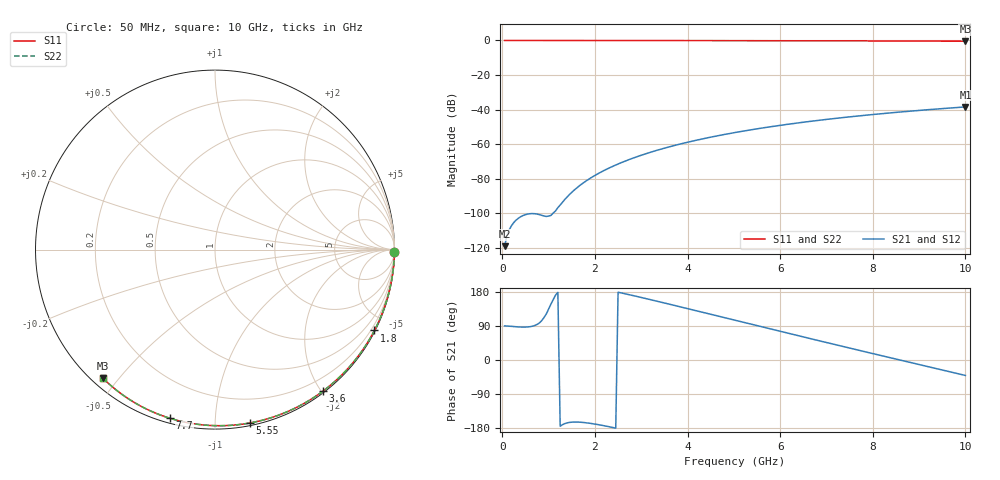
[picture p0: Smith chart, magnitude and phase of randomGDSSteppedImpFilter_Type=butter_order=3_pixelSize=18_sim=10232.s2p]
! freq	dB(S11)	phase(S11)	dB(S12)	phase(S12)
!  dB(S21)	phase(S21)	dB(S22)	phase(S22)
!S-par simulation data
#  GHz  S  DB  R 50
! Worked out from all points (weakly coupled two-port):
!   200 points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, 50 MHz to 10 GHz, reference 50 ohm
!   highest |S21| = -38.46 dB at 10 GHz (marker M1); lowest = -119.0 dB at 50 MHz (marker M2)
!   lowest |S11| = -0.4 dB at 10 GHz (marker M3), VSWR 39.12, Z = 1.54 - j22.7 ohm
!   |S11| at or under -10 dB: nowhere
!   |S22| runs from -0.4 to 0.0 dB; largest |S21 - S12| = 0
!   S11 on the Smith chart (normalised r, x): 50 MHz: open; 1.8 GHz: 0.04, -4.18; 3.6 GHz: 0.02, -2.02; 5.55 GHz: 0.02, -1.22; 7.7 GHz: 0.02, -0.77; 10 GHz: 0.03, -0.45
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0.05  -0.00 -0.8  -119.01 89.9  -119.01 89.9  -0.00 -0.8
0.9  -0.02 -13.6  -101.55 111.9  -101.55 111.9  -0.02 -13.6
1.75  -0.03 -26.2  -82.39 -164.8  -82.39 -164.8  -0.03 -26.2
1.8  -0.03 -26.9  -81.45 -165.5  -81.45 -165.5  -0.03 -26.9
1.85  -0.04 -27.6  -80.56 -166.3  -80.56 -166.3  -0.04 -27.6
1.9  -0.04 -28.4  -79.70 -167.1  -79.70 -167.1  -0.04 -28.4
2.05  -0.04 -30.5  -77.32 -170.1  -77.32 -170.1  -0.04 -30.5
2.25  -0.04 -33.5  -74.52 -174.7  -74.52 -174.7  -0.04 -33.5
2.45  -0.05 -36.3  -72.04 -179.8  -72.04 -179.8  -0.05 -36.3
2.65  -0.05 -39.2  -69.82 174.9  -69.82 174.9  -0.05 -39.2
3  -0.06 -44.2  -66.41 165.0  -66.41 165.0  -0.06 -44.2
3.4  -0.07 -49.8  -63.07 153.4  -63.07 153.4  -0.07 -49.8
3.6  -0.07 -52.6  -61.58 147.5  -61.58 147.5  -0.07 -52.6
4.3  -0.09 -62.1  -57.07 126.7  -57.07 126.7  -0.09 -62.1
5.05  -0.11 -72.1  -53.14 104.2  -53.14 104.2  -0.11 -72.1
5.55  -0.13 -78.6  -50.91 89.2  -50.91 89.2  -0.13 -78.6
6.1  -0.15 -85.5  -48.73 72.8  -48.73 72.8  -0.15 -85.5
6.7  -0.18 -92.9  -46.63 55.0  -46.63 55.0  -0.18 -92.9
7.7  -0.24 -104.9  -43.64 25.6  -43.64 25.6  -0.24 -104.9
8.35  -0.29 -112.5  -41.97 6.8  -41.97 6.8  -0.29 -112.5
9.15  -0.36 -121.6  -40.15 -16.3  -40.15 -16.3  -0.36 -121.6
10  -0.44 -131.2  -38.46 -40.8  -38.46 -40.8  -0.44 -131.2
